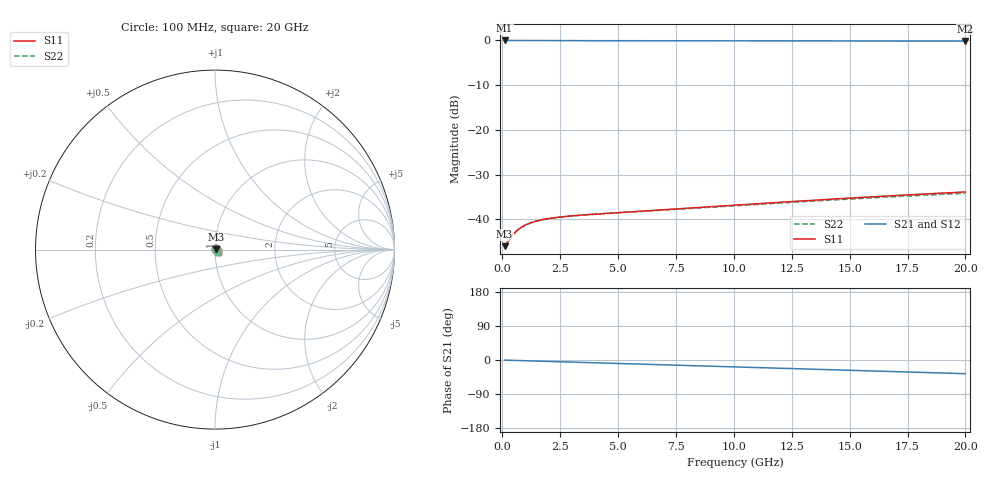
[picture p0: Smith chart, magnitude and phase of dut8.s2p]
! Touchstone file exported from HFSS 2026.1.0
!  File:  C:/ffzhzh/LocalFiles/Ansys_Project_Files/temp_train_BSMRDL_8_1782881843_43084.aedt
!  Generated:  12:58:31 PM Jul  1, 2026
!  Design:  BSMRDL
!  Project:  temp_train_BSMRDL_8_1782881843_43084
! Variables:
!  h_bsmrdl = 2um
!  h_ox = 20um
!  h_rdl = 5um
!  h_sub = 80um
!  h_tmrdl = 5um
!  h_tsv = 80um
!  h_via = 3um
!  l_bsmrdl = 635.26um
!  l_sub = 1035.26um
!  l_tmrdl = 200um
!  m_sub = 200um
!  pitch = 27.7um
!  r_tsv = 6um
!  s_tmrdl = 10um
!  w_bsmrdl = 24.59um
!  w_sub = 500um
!  w_tmrdl = 12um
!  x_tsv_center1 = 206um
!  x_tsv_center2 = 865.85um
!  x_tsv_center3 = 1077.85um
!  x_tsv_center4 = 1737.7um
!  x_tsv_center5 = 1949.7um
!  x_tsv_center6 = 2609.55um
# GHz S MA R 50.000000
! Terminal data exported
! Port[1] = BSM_RDL1_1_T1
! Port[2] = BSM_RDL1_1_T2
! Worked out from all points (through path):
!   200 points, 100 MHz to 20 GHz, reference 50 ohm
!   highest |S21| = -0.04 dB at 100 MHz (marker M1); lowest = -0.2 dB at 20 GHz (marker M2)
!   group delay of S21, straight-line fit = 5 ps
!   lowest |S11| = -46.0 dB at 100 MHz (marker M3), VSWR 1.01, Z = 50.5 + j0.0718 ohm
!   |S11| at or under -10 dB: start of sweep to end of sweep
!   |S22| runs from -46.0 to -34.2 dB; largest |S21 - S12| = 9.4e-15
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0.1  0.005028 8.1  0.995 -0.2  0.995 -0.2  0.005028 8.1
! Gamma 0 0 0 0
! Port Impedance 50 0 50 0
0.2  0.005415 14.3  0.9948 -0.4  0.9948 -0.4  0.005418 14.3
0.4  0.006449 20.1  0.994 -0.9  0.994 -0.9  0.006434 19.9
0.5  0.006941 20.8  0.9935 -1.1  0.9935 -1.1  0.006913 20.6
0.6  0.007382 20.9  0.9931 -1.3  0.9931 -1.3  0.007343 20.8
0.7  0.007769 20.5  0.9927 -1.4  0.9927 -1.4  0.007724 20.5
0.8  0.008108 20.0  0.9923 -1.6  0.9923 -1.6  0.008061 20.1
0.9  0.008405 19.4  0.992 -1.8  0.992 -1.8  0.008361 19.5
1.1  0.008902 18.1  0.9914 -2.2  0.9914 -2.2  0.008868 18.3
1.3  0.0093 16.7  0.991 -2.5  0.991 -2.5  0.009276 17.0
1.5  0.009624 15.5  0.9907 -2.9  0.9907 -2.9  0.00961 15.7
1.7  0.009893 14.3  0.9904 -3.2  0.9904 -3.2  0.009886 14.5
2  0.01022 12.6  0.9901 -3.8  0.9901 -3.8  0.01022 12.8
2.6  0.0107 9.8  0.9896 -4.9  0.9896 -4.9  0.0107 10.0
3.5  0.01122 6.6  0.9891 -6.5  0.9891 -6.5  0.0112 6.7
5.2  0.01199 2.0  0.9882 -9.6  0.9882 -9.6  0.01194 2.1
6.8  0.01273 -1.9  0.9874 -12.4  0.9874 -12.4  0.01264 -1.7
8.4  0.01353 -5.8  0.9865 -15.3  0.9865 -15.3  0.0134 -5.6
10.1  0.01444 -10.2  0.9855 -18.4  0.9855 -18.4  0.01425 -10.0
13.4  0.01635 -19.6  0.9834 -24.3  0.9834 -24.3  0.01602 -19.4
16.7  0.01831 -29.8  0.981 -30.3  0.981 -30.3  0.01781 -29.5
20  0.02025 -40.2  0.9787 -36.1  0.9787 -36.1  0.01955 -40.1
